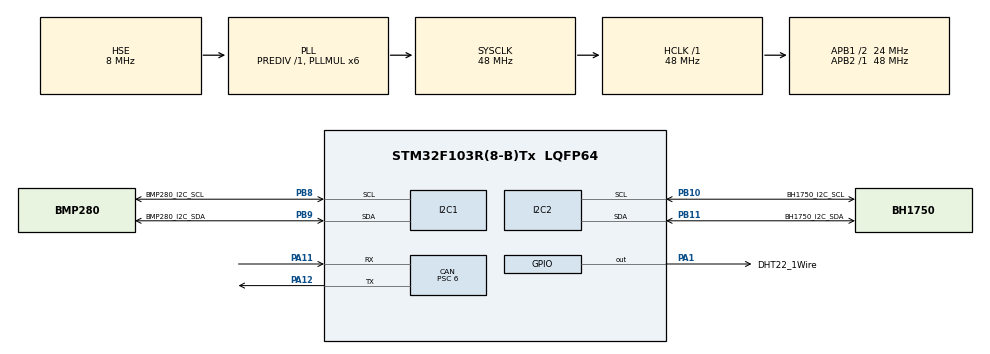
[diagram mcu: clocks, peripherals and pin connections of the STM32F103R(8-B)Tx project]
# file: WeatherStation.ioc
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Mcu.Family=STM32F1
RCC.PLLSourceVirtual=RCC_PLLSOURCE_HSE
PD1-OSC_OUT.Mode=HSE-External-Oscillator
PB9.GPIO_Label=BMP280_I2C_SDA
PB10.Mode=I2C
CAN.CalculateBaudRate=250000
PB11.GPIO_Label=BH1750_I2C_SDA
PA11.Mode=CAN_Activate
PD0-OSC_IN.Signal=RCC_OSC_IN
RCC.APB1CLKDivider=RCC_HCLK_DIV2
PB11.Signal=I2C2_SDA
CAN.CalculateTimeBit=4000.00
RCC.SYSCLKSource=RCC_SYSCLKSOURCE_PLLCLK
ProjectManager.StackSize=0x400
PD1-OSC_OUT.Signal=RCC_OSC_OUT
PA13.Signal=SYS_JTMS-SWDIO
PB8.GPIO_Label=BMP280_I2C_SCL
PA12.Signal=CAN_TX
CAN.BS2=CAN_BS2_2TQ
NVIC.USB_HP_CAN1_TX_IRQn=true\:0\:0\:false\:false\:true\:true\:true
CAN.Prescaler=6
CAN.BS1=CAN_BS1_13TQ
TIM1.Prescaler=48-1
PB11.Mode=I2C
ProjectManager.TargetToolchain=STM32CubeIDE
PB10.GPIO_Label=BH1750_I2C_SCL
RCC.HCLKFreq_Value=48000000
PB9.Mode=I2C
RCC.APB2TimFreq_Value=48000000
RCC.USBFreq_Value=48000000
CAN.Mode=CAN_MODE_NORMAL
PA1.GPIO_PuPd=GPIO_PULLDOWN
PA1.Signal=GPIO_Output
RCC.AHBFreq_Value=48000000
PD0-OSC_IN.Mode=HSE-External-Oscillator
PB10.Signal=I2C2_SCL
board=custom
RCC.PLLMUL=RCC_PLL_MUL6
RCC.APB2Freq_Value=48000000
PA14.Mode=Serial_Wire
NVIC.USB_LP_CAN1_RX0_IRQn=true\:0\:0\:false\:false\:true\:true\:true
CAN.NART=ENABLE
PA1.GPIO_Label=DHT22_1Wire
PA13.Mode=Serial_Wire
Mcu.Name=STM32F103R(8-B)Tx
CAN.CalculateTimeQuantum=250.0
VP_TIM1_VS_ClockSourceINT.Mode=Internal
RCC.SYSCLKFreq_VALUE=48000000
Mcu.Package=LQFP64
PB9.Signal=I2C1_SDA
PA12.Mode=CAN_Activate
PA11.Signal=CAN_RX
PA14.Signal=SYS_JTCK-SWCLK
ProjectManager.HeapSize=0x200
NVIC.PriorityGroup=NVIC_PRIORITYGROUP_4
PB8.Mode=I2C
RCC.APB1TimFreq_Value=48000000
PB8.Signal=I2C1_SCL
TIM1.Period=0xffff-1
RCC.APB1Freq_Value=24000000

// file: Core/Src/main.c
/* USER CODE BEGIN Header */
/**
  ******************************************************************************
  * @file           : main.c
  * @brief          : Main program body
  ******************************************************************************
  * @attention
  *
  * <h2><center>&copy; Copyright (c) 2021 STMicroelectronics.
  * All rights reserved.</center></h2>
  *
  * This software component is licensed by ST under BSD 3-Clause license,
  * the "License"; You may not use this file except in compliance with the
  * License. You may obtain a copy of the License at:
  *                        opensource.org/licenses/BSD-3-Clause
  *
  ******************************************************************************
  */
/* USER CODE END Header */
#include "main.h"

/* USER CODE BEGIN Includes */
#include "stdio.h"
#include "DHT22.h"
#include "BMP280.h"
#include "BH1750.h"

/* USER CODE END Includes */

CAN_HandleTypeDef hcan;

I2C_HandleTypeDef hi2c1;
I2C_HandleTypeDef hi2c2;

TIM_HandleTypeDef htim1;

/* USER CODE BEGIN PV */

CAN_FilterTypeDef sFilterConfig;
CAN_TxHeaderTypeDef TxHeader;
CAN_RxHeaderTypeDef RxHeader;
uint16_t TxData[4] = {0, 0, 0, 0};
uint16_t RxData[4] = {0, 0, 0, 0};
uint32_t TxMailbox;

uint8_t Rh_byte1, Rh_byte2, Temp_byte1, Temp_byte2;
uint16_t RH, TEMP;

float Temperature = 0;
float Humidity = 0;
uint8_t Presence = 0;
char message[10];

BMP280_HandleTypedef bmp280;
float pressureBmp280, temperatureBmp280, humidityBmp280;

uint16_t size;
uint8_t Data[256];

float BH1750_lux;

int init_iter = 0;

/* USER CODE END PV */

void SystemClock_Config(void);
static void MX_GPIO_Init(void);
static void MX_TIM1_Init(void);
static void MX_I2C1_Init(void);
static void MX_I2C2_Init(void);
static void MX_CAN_Init(void);

int main(void)
{

	/* MCU Configuration--------------------------------------------------------*/

	/* Reset of all peripherals, Initializes the Flash interface and the Systick. */
	HAL_Init();

	/* Configure the system clock */
	SystemClock_Config();

	/* Initialize all configured peripherals */
	MX_GPIO_Init();
	MX_TIM1_Init();
	MX_I2C1_Init();
	MX_I2C2_Init();
	MX_CAN_Init();

	/* USER CODE BEGIN 2 */

	// Timer start
	HAL_TIM_Base_Start(&htim1);

	// CAN filter parameters
	sFilterConfig.FilterBank = 0;
	sFilterConfig.FilterMode = CAN_FILTERMODE_IDMASK;
	sFilterConfig.FilterScale = CAN_FILTERSCALE_32BIT;
	sFilterConfig.FilterIdHigh = 0x0000;
	sFilterConfig.FilterIdLow = 0x0000;
	sFilterConfig.FilterMaskIdHigh = 0x0000;
	sFilterConfig.FilterMaskIdLow = 0x0000;
	sFilterConfig.FilterFIFOAssignment = CAN_RX_FIFO0;
	sFilterConfig.FilterActivation = ENABLE;
	sFilterConfig.SlaveStartFilterBank = 14;

	// CAN TX header parameters
	TxHeader.StdId = 0x321;
	TxHeader.ExtId = 0x01;
	TxHeader.RTR = CAN_RTR_DATA;
	TxHeader.IDE = CAN_ID_STD;
	TxHeader.DLC = 8;
	TxHeader.TransmitGlobalTime = DISABLE;

	// apply CAN filter configuration
	if (HAL_CAN_ConfigFilter(&hcan, &sFilterConfig) != HAL_OK)
	{
	  /* Filter configuration Error */
	  Error_Handler();
	}

	// start CAN bus operation
	if (HAL_CAN_Start(&hcan) != HAL_OK)
	{
	  /* Start Error */
	  Error_Handler();
	}

	// BMP280 parameters
	bmp280_init_default_params(&bmp280.params);
	bmp280.addr = BMP280_I2C_ADDRESS_0;
	bmp280.i2c = &hi2c1;

	// BMP280 initialization
	init_iter = 0;
	while (1) {

		if (bmp280_init(&bmp280, &bmp280.params)) break;
		else {
			HAL_Delay(1000);
			++init_iter;
		}

		if (init_iter > 100) Error_Handler();

	}

	// BH1750 initialization
	init_iter = 0;
	while (1) {

		if (BH1750_Init(&hi2c2) == BH1750_OK) break;
		else {
			HAL_Delay(1000);
			++init_iter;
		}

		if (init_iter > 100) Error_Handler();

	}
	BH1750_SetMode(CONTINUOUS_HIGH_RES_MODE_2);

	/* USER CODE END 2 */

	/* Infinite loop */
	while (1)
	{

	/* USER CODE BEGIN 3 */

	// DHT22 read-out
	DHT22_Start();
	Presence = DHT22_Check_Response();
	Rh_byte1 = DHT22_Read();
	Rh_byte2 = DHT22_Read();
	Temp_byte1 = DHT22_Read();
	Temp_byte2 = DHT22_Read();
	DHT22_Read();

	// bit operations needed for 2-byte representation
	TEMP = ((Temp_byte1<<8)|Temp_byte2);
	RH = ((Rh_byte1<<8)|Rh_byte2);

	// divide by 10
	Temperature = TEMP / 10;
	Humidity = RH / 10;

	// it seems that initial values of BMP280 are more accurate when this delay takes place
	HAL_Delay(1000);

	// BMP280 read-out
	init_iter = 0;
	while (1) {

		if (bmp280_read_float(&bmp280, &temperatureBmp280, &pressureBmp280, &humidityBmp280)) break;
		else {
			HAL_Delay(1000);
			++init_iter;
		}

		if (init_iter > 100) Error_Handler();

	}

	pressureBmp280 /= 100;

	// it seems that initial values of BH1750 are more accurate when this delay takes place
	HAL_Delay(1000);

	// BH1750 read-out
	BH1750_ReadLight(&BH1750_lux);

	// Data array filling
	TxData[0] = Temperature;
	TxData[1] = Humidity;
	TxData[2] = pressureBmp280;
	TxData[3] = BH1750_lux;

	// Send message on CAN TX
	HAL_CAN_AddTxMessage(&hcan, &TxHeader, (uint8_t *) TxData, &TxMailbox);

	// Get message from CAN RX
	HAL_CAN_GetRxMessage(&hcan, CAN_RX_FIFO0, &RxHeader, (uint8_t *) RxData);

	// 30 minutes delay
	HAL_Delay(180000);

  }
  /* USER CODE END 3 */
}

void SystemClock_Config(void)
{
  RCC_OscInitTypeDef RCC_OscInitStruct = {0};
  RCC_ClkInitTypeDef RCC_ClkInitStruct = {0};

  /** Initializes the RCC Oscillators according to the specified parameters
  * in the RCC_OscInitTypeDef structure.
  */
  RCC_OscInitStruct.OscillatorType = RCC_OSCILLATORTYPE_HSE;
  RCC_OscInitStruct.HSEState = RCC_HSE_ON;
  RCC_OscInitStruct.HSEPredivValue = RCC_HSE_PREDIV_DIV1;
  RCC_OscInitStruct.HSIState = RCC_HSI_ON;
  RCC_OscInitStruct.PLL.PLLState = RCC_PLL_ON;
  RCC_OscInitStruct.PLL.PLLSource = RCC_PLLSOURCE_HSE;
  RCC_OscInitStruct.PLL.PLLMUL = RCC_PLL_MUL6;
  if (HAL_RCC_OscConfig(&RCC_OscInitStruct) != HAL_OK)
  {
    Error_Handler();
  }
  /** Initializes the CPU, AHB and APB buses clocks
  */
  RCC_ClkInitStruct.ClockType = RCC_CLOCKTYPE_HCLK|RCC_CLOCKTYPE_SYSCLK
                              |RCC_CLOCKTYPE_PCLK1|RCC_CLOCKTYPE_PCLK2;
  RCC_ClkInitStruct.SYSCLKSource = RCC_SYSCLKSOURCE_PLLCLK;
  RCC_ClkInitStruct.AHBCLKDivider = RCC_SYSCLK_DIV1;
  RCC_ClkInitStruct.APB1CLKDivider = RCC_HCLK_DIV2;
  RCC_ClkInitStruct.APB2CLKDivider = RCC_HCLK_DIV1;

  if (HAL_RCC_ClockConfig(&RCC_ClkInitStruct, FLASH_LATENCY_1) != HAL_OK)
  {
    Error_Handler();
  }
}

static void MX_CAN_Init(void)
{

  hcan.Instance = CAN1;
  hcan.Init.Prescaler = 6;
  hcan.Init.Mode = CAN_MODE_NORMAL;
  hcan.Init.SyncJumpWidth = CAN_SJW_1TQ;
  hcan.Init.TimeSeg1 = CAN_BS1_13TQ;
  hcan.Init.TimeSeg2 = CAN_BS2_2TQ;
  hcan.Init.TimeTriggeredMode = DISABLE;
  hcan.Init.AutoBusOff = DISABLE;
  hcan.Init.AutoWakeUp = DISABLE;
  hcan.Init.AutoRetransmission = ENABLE;
  hcan.Init.ReceiveFifoLocked = DISABLE;
  hcan.Init.TransmitFifoPriority = DISABLE;
  if (HAL_CAN_Init(&hcan) != HAL_OK)
  {
    Error_Handler();
  }

}

static void MX_I2C1_Init(void)
{

  hi2c1.Instance = I2C1;
  hi2c1.Init.ClockSpeed = 100000;
  hi2c1.Init.DutyCycle = I2C_DUTYCYCLE_2;
  hi2c1.Init.OwnAddress1 = 0;
  hi2c1.Init.AddressingMode = I2C_ADDRESSINGMODE_7BIT;
  hi2c1.Init.DualAddressMode = I2C_DUALADDRESS_DISABLE;
  hi2c1.Init.OwnAddress2 = 0;
  hi2c1.Init.GeneralCallMode = I2C_GENERALCALL_DISABLE;
  hi2c1.Init.NoStretchMode = I2C_NOSTRETCH_DISABLE;
  if (HAL_I2C_Init(&hi2c1) != HAL_OK)
  {
    Error_Handler();
  }

}

static void MX_I2C2_Init(void)
{

  hi2c2.Instance = I2C2;
  hi2c2.Init.ClockSpeed = 100000;
  hi2c2.Init.DutyCycle = I2C_DUTYCYCLE_2;
  hi2c2.Init.OwnAddress1 = 0;
  hi2c2.Init.AddressingMode = I2C_ADDRESSINGMODE_7BIT;
  hi2c2.Init.DualAddressMode = I2C_DUALADDRESS_DISABLE;
  hi2c2.Init.OwnAddress2 = 0;
  hi2c2.Init.GeneralCallMode = I2C_GENERALCALL_DISABLE;
  hi2c2.Init.NoStretchMode = I2C_NOSTRETCH_DISABLE;
  if (HAL_I2C_Init(&hi2c2) != HAL_OK)
  {
    Error_Handler();
  }

}

static void MX_TIM1_Init(void)
{

  TIM_ClockConfigTypeDef sClockSourceConfig = {0};
  TIM_MasterConfigTypeDef sMasterConfig = {0};

  htim1.Instance = TIM1;
  htim1.Init.Prescaler = 48-1;
  htim1.Init.CounterMode = TIM_COUNTERMODE_UP;
  htim1.Init.Period = 0xffff-1;
  htim1.Init.ClockDivision = TIM_CLOCKDIVISION_DIV1;
  htim1.Init.RepetitionCounter = 0;
  htim1.Init.AutoReloadPreload = TIM_AUTORELOAD_PRELOAD_DISABLE;
  if (HAL_TIM_Base_Init(&htim1) != HAL_OK)
  {
    Error_Handler();
  }
  sClockSourceConfig.ClockSource = TIM_CLOCKSOURCE_INTERNAL;
  if (HAL_TIM_ConfigClockSource(&htim1, &sClockSourceConfig) != HAL_OK)
  {
    Error_Handler();
  }
  sMasterConfig.MasterOutputTrigger = TIM_TRGO_RESET;
  sMasterConfig.MasterSlaveMode = TIM_MASTERSLAVEMODE_DISABLE;
  if (HAL_TIMEx_MasterConfigSynchronization(&htim1, &sMasterConfig) != HAL_OK)
  {
    Error_Handler();
  }

}

static void MX_GPIO_Init(void)
{
  GPIO_InitTypeDef GPIO_InitStruct = {0};

  /* GPIO Ports Clock Enable */
  __HAL_RCC_GPIOD_CLK_ENABLE();
  __HAL_RCC_GPIOA_CLK_ENABLE();
  __HAL_RCC_GPIOB_CLK_ENABLE();

  /*Configure GPIO pin Output Level */
  HAL_GPIO_WritePin(DHT22_1Wire_GPIO_Port, DHT22_1Wire_Pin, GPIO_PIN_RESET);

  /*Configure GPIO pin : DHT22_1Wire_Pin */
  GPIO_InitStruct.Pin = DHT22_1Wire_Pin;
  GPIO_InitStruct.Mode = GPIO_MODE_OUTPUT_PP;
  GPIO_InitStruct.Pull = GPIO_PULLDOWN;
  GPIO_InitStruct.Speed = GPIO_SPEED_FREQ_LOW;
  HAL_GPIO_Init(DHT22_1Wire_GPIO_Port, &GPIO_InitStruct);

}

/* USER CODE BEGIN 4 */

void HAL_CAN_TxMailbox0CompleteCallback(CAN_HandleTypeDef *hcan)
{

}
void HAL_CAN_RxFifo0MsgPendingCallback(CAN_HandleTypeDef *hcan)
{
	HAL_CAN_GetRxMessage(hcan, CAN_RX_FIFO0, &RxHeader, (uint8_t *) RxData);
}

/* USER CODE END 4 */

void Error_Handler(void)
{
  /* USER CODE BEGIN Error_Handler_Debug */
  /* User can add his own implementation to report the HAL error return state */
	HAL_NVIC_SystemReset();
  /* USER CODE END Error_Handler_Debug */
}

/************************ (C) COPYRIGHT STMicroelectronics *****END OF FILE****/
